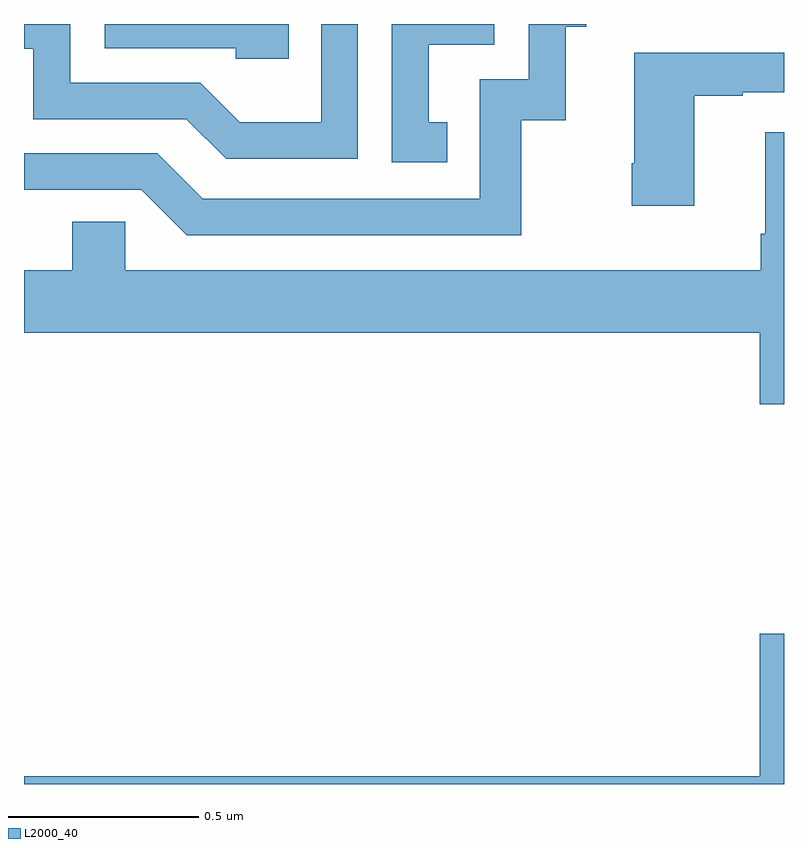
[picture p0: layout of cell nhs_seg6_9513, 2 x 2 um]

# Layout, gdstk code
import gdstk
lib = gdstk.Library(unit=1e-6, precision=1e-09)
def P(c, l, *ps):  # polygons
    for p in ps: c.add(gdstk.Polygon(p, *l))
L2000_40 = (2000, 40)

nhs_seg6_9513 = lib.new_cell('nhs_seg6_9513')
P(nhs_seg6_9513, L2000_40, [(236.308,929.247),(236.426,929.247),(236.426,929.493),(236.479,929.493),(236.479,929.5),(236.328,929.5),(236.328,929.355),(236.199,929.355),(236.199,929.04),(235.47,929.04),(235.35,929.16),(235,929.16),(235,929.064),(235.308,929.064),(235.428,928.944),(236.308,928.944)],
  [(235.697,929.5),(235.212,929.5),(235.212,929.436),(235.557,929.436),(235.557,929.409),(235.697,929.409)],
  [(236.114,929.241),(236.065,929.241),(236.065,929.445),(236.238,929.445),(236.238,929.5),(235.968,929.5),(235.968,929.136),(236.114,929.136)],
  [(235.878,929.5),(235.782,929.5),(235.782,929.242),(235.568,929.242),(235.464,929.346),(235.122,929.346),(235.122,929.5),(235,929.5),(235,929.435),(235.024,929.435),(235.024,929.25),(235.427,929.25),(235.532,929.145),(235.878,929.145)],
  [(236.764,929.311),(236.891,929.311),(236.891,929.321),(237,929.321),(237,929.425),(236.606,929.425),(236.606,929.134),(236.599,929.134),(236.599,929.022),(236.764,929.022)],
  [(237,929.215),(236.951,929.215),(236.951,928.948),(236.939,928.948),(236.939,928.852),(235.266,928.852),(235.266,928.979),(235.127,928.979),(235.127,928.852),(235,928.852),(235,928.688),(236.936,928.688),(236.936,928.5),(237,928.5)],
  [(237,927.895),(236.936,927.895),(236.936,927.52),(235,927.52),(235,927.5),(237,927.5)])

lib.write_gds('nhs_seg6_9513.gds')
